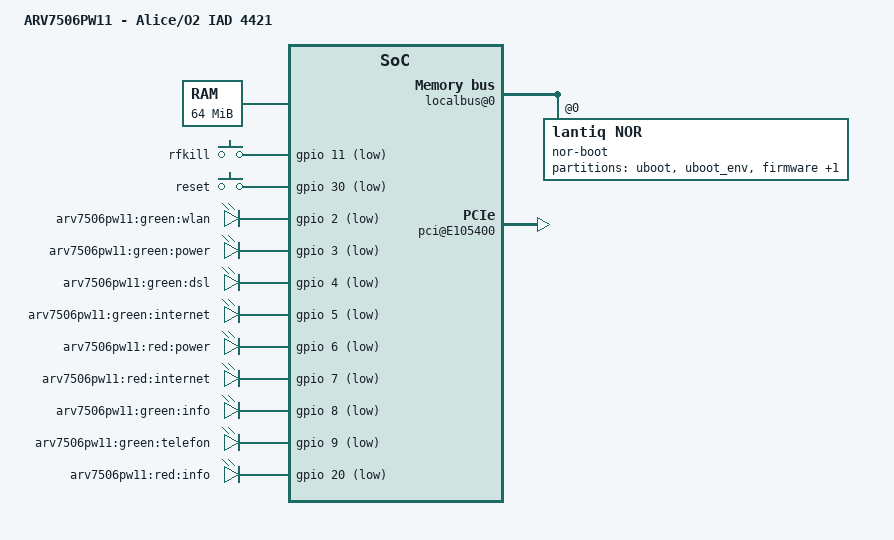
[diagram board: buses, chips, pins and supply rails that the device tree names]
/dts-v1/;

/include/ "danube.dtsi"

/ {
	model = "ARV7506PW11 - Alice/O2 IAD 4421";

	aliases {
		led-boot = &power;
		led-failsafe = &power_red;
		led-running = &power;

		led-dsl = &dsl;
		led-internet = &internet;
		led-wifi = &wlan;
	};

	memory@0 {
		reg = <0x0 0x4000000>;
	};

	fpi@10000000 {
		localbus@0 {
			nor-boot@0 {
				compatible = "lantiq,nor";
				bank-width = <2>;
				reg = <0 0x0 0x800000>;

				partitions {
					compatible = "fixed-partitions";
					#address-cells = <1>;
					#size-cells = <1>;

					partition@0 {
						label = "uboot";
						reg = <0x00000 0x40000>;
						read-only;
					};

					partition@40000 {
						label = "uboot_env";
						reg = <0x40000 0x10000>;
						read-only;
					};

					partition@50000 {
						label = "firmware";
						reg = <0x50000 0x7a0000>;
					};

					boardconfig: partition@7f0000 {
						label = "board_config";
						reg = <0x7f0000 0x10000>;
						read-only;
					};
				};
			};
		};

		gpio: pinmux@E100B10 {
			pinctrl-names = "default";
			pinctrl-0 = <&state_default>;

			state_default: pinmux {
				pci {
					lantiq,groups = "gnt1";
					lantiq,function = "pci";
					lantiq,output = <1>;
				};
				pci_rst {
					lantiq,pins = "io21";
					lantiq,pull = <2>;
					lantiq,output = <1>;
				};
			};
		};

		/* GPIO 19: switch reset */
		etop@E180000 {
			phy-mode = "rmii";
			mtd-mac-address = <&boardconfig 0x16>;
		};

		pci@E105400 {
			status = "okay";
			gpio-reset = <&gpio 21 0>;
		};
	};

	ralink_eep {
		compatible = "ralink,eeprom";
		ralink,eeprom = "RT2860.eeprom";
	};

	gpio-keys-polled {
		compatible = "gpio-keys-polled";
		#address-cells = <1>;
		#size-cells = <0>;
		poll-interval = <100>;

		rfkill {
			label = "rfkill";
			gpios = <&gpio 11 1>;
			linux,code = <0xf7>;
		};
		reset {
			label = "reset";
			gpios = <&gpio 30 1>;
			linux,code = <0x198>;
		};
	};

	gpio-leds {
		compatible = "gpio-leds";
		wlan: wlan {
			label = "arv7506pw11:green:wlan";
			gpios = <&gpio 2 1>;
		};
		power: power {
			label = "arv7506pw11:green:power";
			gpios = <&gpio 3 1>;
			default-state = "keep";
		};
		dsl: dsl {
			label = "arv7506pw11:green:dsl";
			gpios = <&gpio 4 1>;
		};
		internet: internet {
			label = "arv7506pw11:green:internet";
			gpios = <&gpio 5 1>;
		};
		power_red: power_red {
			label = "arv7506pw11:red:power";
			gpios = <&gpio 6 1>;
		};
		internet_red {
			label = "arv7506pw11:red:internet";
			gpios = <&gpio 7 1>;
		};
		info {
			label = "arv7506pw11:green:info";
			gpios = <&gpio 8 1>;
		};
		telefon {
			label = "arv7506pw11:green:telefon";
			gpios = <&gpio 9 1>;
		};
		info_red {
			label = "arv7506pw11:red:info";
			gpios = <&gpio 20 1>;
		};
	};
};
